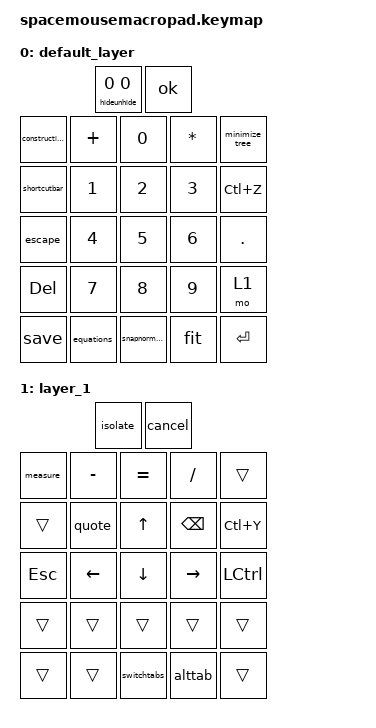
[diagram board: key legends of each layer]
/* config/zmk-user.keymap */
#include <behaviors.dtsi>
#include <dt-bindings/zmk/keys.h>
#include "macros.dtsi"

/ {
    keymap {
        compatible = "zmk,keymap";

        default_layer {
            bindings = <
                // Row 1
                &hideunhide 0 0 &ok
                // Row 2
                &construction &kp PLUS &kp N0 &kp STAR &minimize_tree
                // Row 3
                &shortcutbar &kp N1 &kp N2 &kp N3 &kp LC(Z)
                // Row 4
                &escape &kp N4 &kp N5 &kp N6 &kp DOT
                // Row 5
                &kp DEL &kp N7 &kp N8 &kp N9 &mo 1
                // Row 6 
                &save    &equations    &snapnormalto    &fit    &kp ENTER
            >;
        };

       /* MOD layer (activated by K_MOD tap/hold) */
        layer_1 {
            bindings = <
                // Row 1
                &isolate &cancel
                // Row 2
                &measure &kp MINUS &kp EQUAL &kp SLASH &trans
                // Row 3
                &trans &quote &kp UP &kp BACKSPACE &kp LC(Y)
                // Row 4
                &kp ESC &kp LEFT &kp DOWN &kp RIGHT &kp LCTRL
                // Row 5
                &trans &trans &trans &trans &trans
                // Row 6
                &trans &trans &switchtabs &alttab &trans
            >;
        };
    };
};
